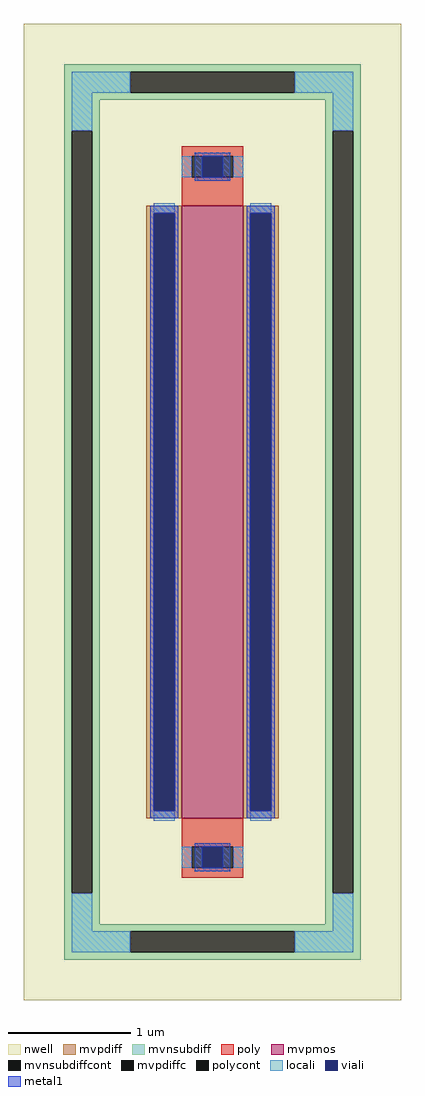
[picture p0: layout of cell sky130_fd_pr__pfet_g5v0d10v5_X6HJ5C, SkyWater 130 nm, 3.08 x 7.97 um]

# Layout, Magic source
magic
tech sky130A
magscale 1 2
<< nwell >>
rect -308 -797 308 797
<< mvpmos >>
rect -50 -500 50 500
<< mvpdiff >>
rect -108 488 -50 500
rect -108 -488 -96 488
rect -62 -488 -50 488
rect -108 -500 -50 -488
rect 50 488 108 500
rect 50 -488 62 488
rect 96 -488 108 488
rect 50 -500 108 -488
<< mvpdiffc >>
rect -96 -488 -62 488
rect 62 -488 96 488
<< mvnsubdiff >>
rect -242 719 242 731
rect -242 685 -134 719
rect 134 685 242 719
rect -242 673 242 685
rect -242 623 -184 673
rect -242 -623 -230 623
rect -196 -623 -184 623
rect 184 623 242 673
rect -242 -673 -184 -623
rect 184 -623 196 623
rect 230 -623 242 623
rect 184 -673 242 -623
rect -242 -685 242 -673
rect -242 -719 -134 -685
rect 134 -719 242 -685
rect -242 -731 242 -719
<< mvnsubdiffcont >>
rect -134 685 134 719
rect -230 -623 -196 623
rect 196 -623 230 623
rect -134 -719 134 -685
<< poly >>
rect -50 581 50 597
rect -50 547 -34 581
rect 34 547 50 581
rect -50 500 50 547
rect -50 -547 50 -500
rect -50 -581 -34 -547
rect 34 -581 50 -547
rect -50 -597 50 -581
<< polycont >>
rect -34 547 34 581
rect -34 -581 34 -547
<< locali >>
rect -230 685 -134 719
rect 134 685 230 719
rect -230 623 -196 685
rect 196 623 230 685
rect -50 547 -34 581
rect 34 547 50 581
rect -96 488 -62 504
rect -96 -504 -62 -488
rect 62 488 96 504
rect 62 -504 96 -488
rect -50 -581 -34 -547
rect 34 -581 50 -547
rect -230 -685 -196 -623
rect 196 -685 230 -623
rect -230 -719 -134 -685
rect 134 -719 230 -685
<< viali >>
rect -17 547 17 581
rect -96 -488 -62 488
rect 62 -488 96 488
rect -17 -581 17 -547
<< metal1 >>
rect -29 581 29 587
rect -29 547 -17 581
rect 17 547 29 581
rect -29 541 29 547
rect -102 488 -56 500
rect -102 -488 -96 488
rect -62 -488 -56 488
rect -102 -500 -56 -488
rect 56 488 102 500
rect 56 -488 62 488
rect 96 -488 102 488
rect 56 -500 102 -488
rect -29 -547 29 -541
rect -29 -581 -17 -547
rect 17 -581 29 -547
rect -29 -587 29 -581
<< properties >>
string gencell sky130_fd_pr__pfet_g5v0d10v5
string FIXED_BBOX -213 -702 213 702
string parameters w 5 l 0.5 m 1 nf 1 diffcov 100 polycov 100 guard 1 glc 1 grc 1 gtc 1 gbc 1 tbcov 100 rlcov 100 topc 1 botc 1 poverlap 0 doverlap 1 lmin 0.50 wmin 0.42 compatible {sky130_fd_pr__pfet_01v8  sky130_fd_pr__pfet_01v8_lvt sky130_fd_pr__pfet_01v8_hvt  sky130_fd_pr__pfet_g5v0d10v5} full_metal 1 viasrc 100 viadrn 100 viagate 50 viagb 0 viagr 0 viagl 0 viagt 0
string library sky130
<< end >>
